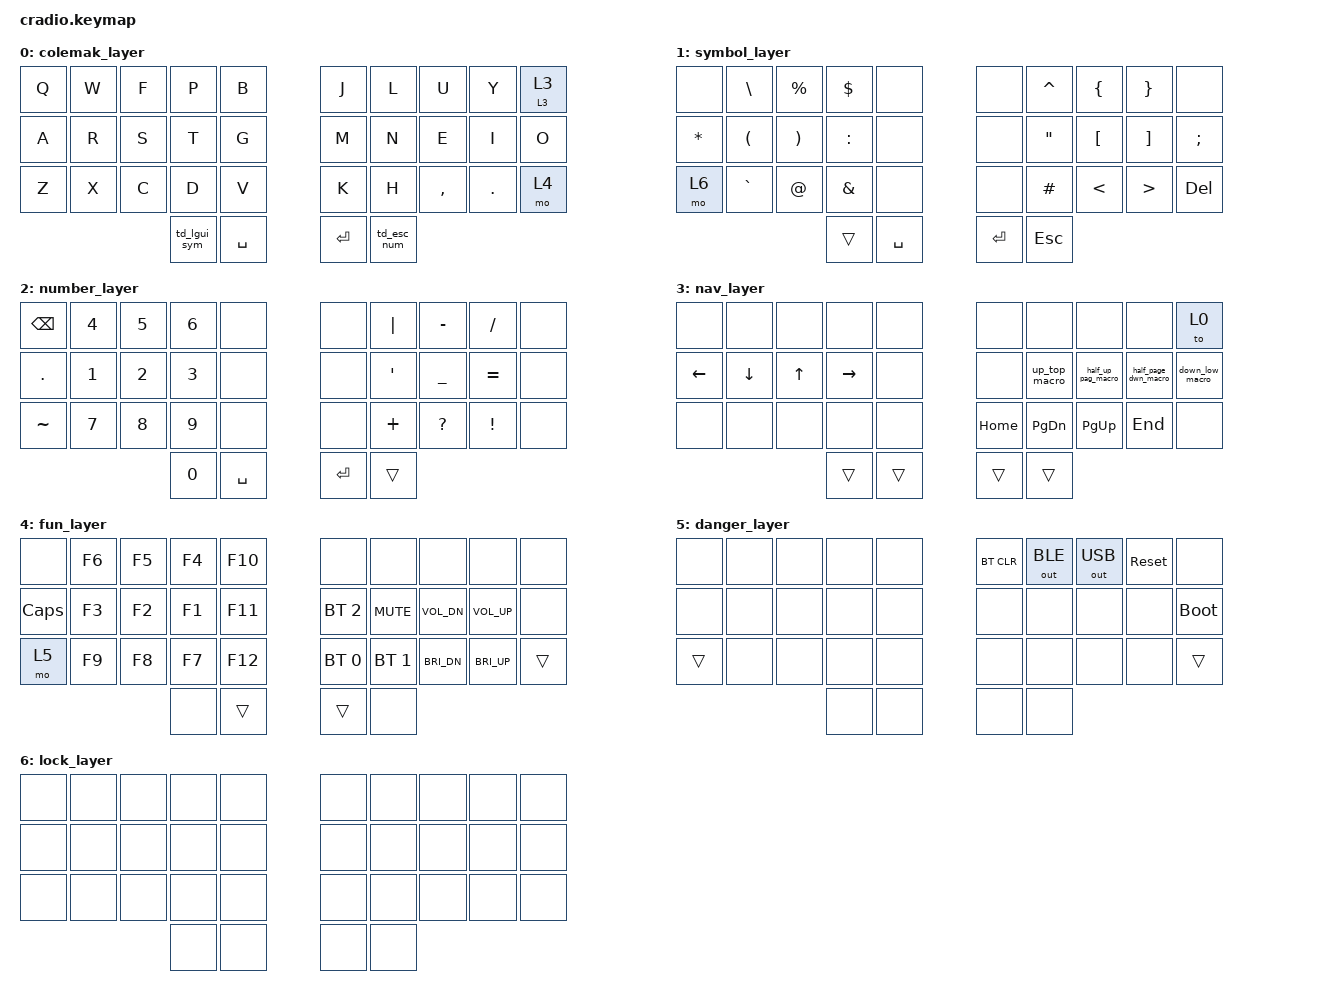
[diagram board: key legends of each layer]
/*
 * Copyright (c) 2020 The ZMK Contributors
 *
 * SPDX-License-Identifier: MIT
 */

#include <behaviors.dtsi>
#include <dt-bindings/zmk/bt.h>
#include <dt-bindings/zmk/keys.h>
#include <dt-bindings/zmk/outputs.h>

#define CMK 0
#define SYM 1
#define NUM 2
#define NAV 3
#define FUN 4
#define DAN 5
#define LCK 6

&caps_word { continue-list = <UNDERSCORE MINUS BACKSPACE>; };

/ {
    behaviors {
        skq: sticky_key_quick_release {
            compatible = "zmk,behavior-sticky-key";
            label = "STICKY_KEY_QUICK_RELEASE";
            #binding-cells = <1>;
            bindings = <&kp>;
            release-after-ms = <1000>;
            quick-release;
        };

        td_lgui_sym: td_lgui_sym {
            compatible = "zmk,behavior-tap-dance";
            label = "TD_LGUI_SYM";
            #binding-cells = <0>;
            bindings = <&lt 1 LEFT_GUI>;
        };

        td_esc_num: td_esc_num {
            compatible = "zmk,behavior-tap-dance";
            label = "TD_ESC_NUM";
            #binding-cells = <0>;
            bindings = <&lt 2 ESC>;
        };

        lay_hold_tap: lay_hold_tap {
            compatible = "zmk,behavior-hold-tap";
            label = "LAY_HOLD_TAP";
            bindings = <&mo>, <&tog>;

            #binding-cells = <2>;
            tapping-term-ms = <200>;
            hold-while-undecided;
        };
    };
};

/*           34 Keys
╭──────────────╮ ╭──────────────╮
│ 0  1  2  3  4│ │ 5  6  7  8  9│
│10 11 12 13 14│ │15 16 17 18 19│
│20 21 22 23 24│ │25 26 27 28 29│
╰────────╮30 31│ │32 33╭────────╯
         ╰─────╯ ╰─────╯         */

/ {
    combos {
        compatible = "zmk,combos";

        backspace {
            bindings = <&kp BACKSPACE>;
            key-positions = <7 8>;
            layers = <0 1 2 3 6 4>;
        };

        right_shift {
            bindings = <&skq RIGHT_SHIFT>;
            key-positions = <27 28>;
            layers = <0>;
        };

        mayus_lock {
            bindings = <&caps_word>;
            key-positions = <15 14>;
            layers = <0>;
        };

        left_ctrl {
            bindings = <&skq LCTRL>;
            key-positions = <21 22>;
            layers = <0>;
        };

        tab {
            bindings = <&kp TAB>;
            key-positions = <2 1>;
            layers = <0>;
        };
    };

    macros {
        up_top_macro: gg_macro {
            compatible = "zmk,behavior-macro";
            #binding-cells = <0>;
            bindings = <&kp ESC &kp G &kp G>;
            label = "GG_MACRO";
        };

        down_low_macro: shift_g_macro {
            compatible = "zmk,behavior-macro";
            #binding-cells = <0>;
            bindings = <&kp ESC &kp LS(G)>;
            label = "SHIFT_G_MACRO";
        };

        half_page_dwn_macro: half_page_dwn_macro {
            compatible = "zmk,behavior-macro";
            #binding-cells = <0>;
            bindings = <&kp ESC &kp LC(D)>;
            label = "HALF_PAGE_DWN_MACRO";
        };

        half_up_pag_macro: half_up_pag_macro {
            compatible = "zmk,behavior-macro";
            #binding-cells = <0>;
            bindings = <&kp ESC &kp LC(B)>;
            label = "HALF_UP_PAG_MACRO";
        };
    };

    keymap {
        compatible = "zmk,keymap";

        colemak_layer {
            // -----------------------------------------------------------------
            // |  Q  |  W  |  F  |  P  |  B  | |  J  |  L  |  U  |  Y  |     |
            // |  A  |  R  |  S  |  T  |  G  | |  M  |  N  |  E  |  I  |  O  |
            // |  Z  |  X  |  C  |  D  |  V  | |  K  |  H  |  ,  |  .  |-FUN-|
            //                   |-SYM-| SPC | | RET |-NUM-|

            bindings = <
&kp Q  &kp W  &kp F  &kp P         &kp B        &kp J    &kp L        &kp U      &kp Y    &lay_hold_tap 3 3
&kp A  &kp R  &kp S  &kp T         &kp G        &kp M    &kp N        &kp E      &kp I    &kp O
&kp Z  &kp X  &kp C  &kp D         &kp V        &kp K    &kp H        &kp COMMA  &kp DOT  &mo 4
                     &td_lgui_sym  &kp SPACE    &kp RET  &td_esc_num
            >;
        };

        symbol_layer {
            // -----------------------------------------------------------------
            // |     |  \  |  %  |  $  |     | |     |  ^  |  {  |  }  |     |
            // |  *  |  (  |  )  |  :  |     | |     |  "  |  [  |  ]  |  ;  |
            // |     |  `  |  @  |  &  |     | |     |  #  |  <  |  >  |-FUN-|
            //                   |_SYM_| SPC | | RET | ESC |

            bindings = <
&none     &kp BSLH   &kp PRCNT  &kp DLLR   &none        &none    &kp CARET  &kp LBRC  &kp RBRC  &none
&kp STAR  &kp LPAR   &kp RPAR   &kp COLON  &none        &none    &kp DQT    &kp LBKT  &kp RBKT  &kp SEMI
&mo 6     &kp GRAVE  &kp AT     &kp AMPS   &none        &none    &kp HASH   &kp LT    &kp GT    &kp DEL
                                &trans     &kp SPACE    &kp RET  &kp ESC
            >;
        };

        number_layer {
            // -----------------------------------------------------------------
            // |     |  4  |  5  |  6  |     | |     |  |  |  -  |  /  |     |
            // |  .  |  1  |  2  |  3  |     | |     |  '  |  _  |  =  |-NAV-|
            // |  ~  |  7  |  8  |  9  |     | |     |  +  |  ?  |  !  |     |
            //                   |  0  | SPC | | RET |_NUM_|

            bindings = <
&kp BSPC   &kp N4  &kp N5  &kp N6  &none        &none    &kp PIPE  &kp MINUS  &kp FSLH   &none
&kp DOT    &kp N1  &kp N2  &kp N3  &none        &none    &kp SQT   &kp UNDER  &kp EQUAL  &none
&kp TILDE  &kp N7  &kp N8  &kp N9  &none        &none    &kp PLUS  &kp QMARK  &kp EXCL   &none
                           &kp N0  &kp SPACE    &kp RET  &trans
            >;
        };

        nav_layer {
            // -----------------------------------------------------------------
            // |     |     |     |     |     | |     |     |     |     |     |
            // |     |     |     |     |     | | LFT | DWN | U P |RIGHT|_NAV_|
            // |     |     |     |     |     | | HOM |PG_DN|PG_UP| END |     |
            //                   |     | SPC | | RET |_NUM_|

            bindings = <
&none           &none           &none         &none            &none     &none     &none          &none               &none                 &to 0
&kp LEFT_ARROW  &kp DOWN_ARROW  &kp UP_ARROW  &kp RIGHT_ARROW  &none     &none     &up_top_macro  &half_up_pag_macro  &half_page_dwn_macro  &down_low_macro
&none           &none           &none         &none            &none     &kp HOME  &kp PG_DN      &kp PG_UP           &kp END               &none
                                              &trans           &trans    &trans    &trans
            >;
        };

        fun_layer {
            // -----------------------------------------------------------------
            // |     | F 6 | F 5 | F 4 | F10 | | <!> | <!> | <!> | <!> |     |
            // |CAPSL| F 3 | F 2 | F 1 | F11 | | BT2 |VMUTE|VOLDN|VOLUP| <!> |
            // |-!!!-| F 9 | F 8 | F 7 | F12 | | BT0 | BT1 |BRIDN|BRIUP|_FUN_|
            //                   |     | SPC | | RET |     |

            bindings = <
&none     &kp F6  &kp F5  &kp F4  &kp F10    &none         &none         &none         &none         &none
&kp CAPS  &kp F3  &kp F2  &kp F1  &kp F11    &bt BT_SEL 2  &kp K_MUTE    &kp C_VOL_DN  &kp C_VOL_UP  &none
&mo 5     &kp F9  &kp F8  &kp F7  &kp F12    &bt BT_SEL 0  &bt BT_SEL 1  &kp C_BRI_DN  &kp C_BRI_UP  &trans
                          &none   &trans     &trans        &none
            >;
        };

        danger_layer {
            // -----------------------------------------------------------------
            // |     |     |     |     |     | |BTCLR| BLE | USB |RESET|     |
            // |     |     |     |     |     | |     |     |     |     |BOOTL|
            // |_!!!_|     |     |     |     | |     |     |     |     |_FUN_|
            //                   |     |     | |     |     |
            // impactful buttons
            // Bluetooth clear, reset, chaning BLE/USB preference, bootloader

            bindings = <
&none   &none  &none  &none  &none    &bt BT_CLR  &out OUT_BLE  &out OUT_USB  &sys_reset  &none
&none   &none  &none  &none  &none    &none       &none         &none         &none       &bootloader
&trans  &none  &none  &none  &none    &none       &none         &none         &none       &trans
                      &none  &none    &none       &none
            >;
        };

        lock_layer {
            // only way out is the lock combo
            // other combos are disabled too

            bindings = <
&none  &none  &none  &none  &none    &none  &none  &none  &none  &none
&none  &none  &none  &none  &none    &none  &none  &none  &none  &none
&none  &none  &none  &none  &none    &none  &none  &none  &none  &none
                     &none  &none    &none  &none
            >;
        };
    };
};
